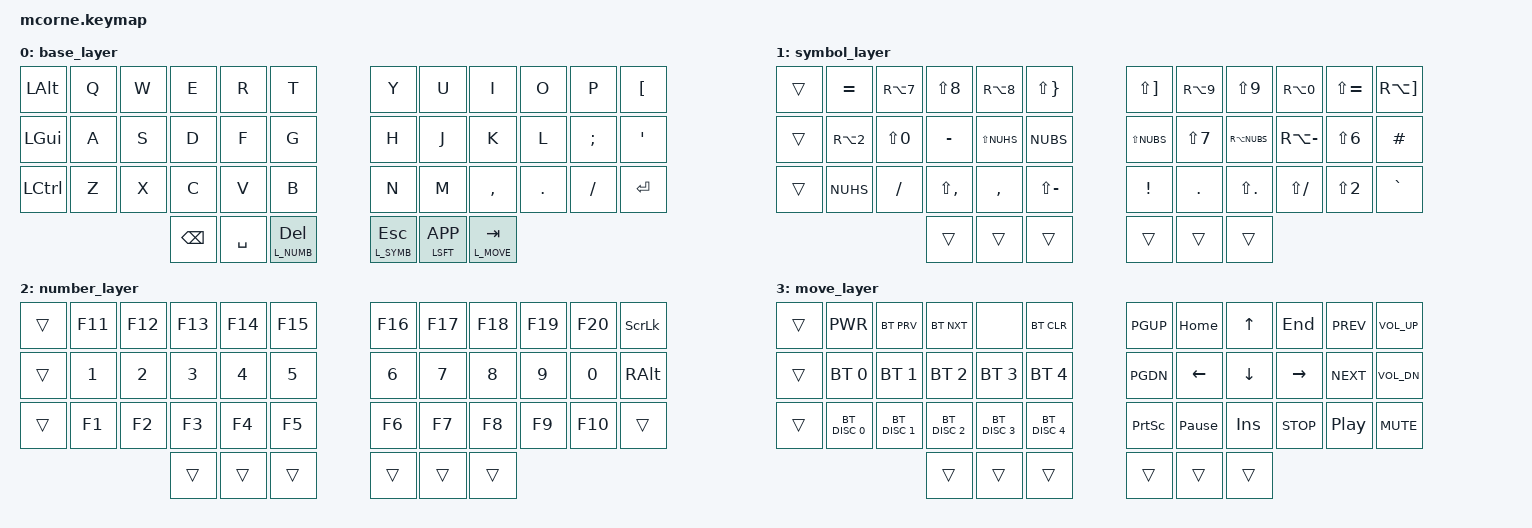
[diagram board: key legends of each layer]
/*
 * Copyright (c) 2020 The ZMK Contributors
 *
 * SPDX-License-Identifier: MIT
 */

#include <behaviors.dtsi>
#include <dt-bindings/zmk/keys.h>
#include <dt-bindings/zmk/bt.h>

#define L_BASE 0
#define L_SYMB 1
#define L_NUMB 2
#define L_MOVE 3

/ {
    macros {
    ZMK_MACRO(pr_stats,
        wait-ms = <30>;
        tap-ms = <40>;
        bindings = <&kp H &kp E &kp L &kp L &kp O>;)};
    behaviors {
        tu: hold_tap_repeat {
            compatible = "zmk,behavior-hold-tap";
            label = "HOLD_TAP_STANDARD";
            #binding-cells = <2>;
            tapping-term-ms = <280>;
            quick-tap-ms = <175>;
            global-quick-tap;
            flavor = "balanced";
            bindings = <&kp>, <&kp>;};
        ht: hold_tap_standard {
            compatible = "zmk,behavior-hold-tap";
            label = "HOLD_TAP_STANDARD";
            #binding-cells = <2>;
            tapping-term-ms = <200>;
            quick-tap-ms = <150>;
            flavor = "hold-preferred";
            bindings = <&kp>, <&kp>;};
        ly: custom_layer_tap {
            compatible = "zmk,behavior-hold-tap";
            label = "CUSTOM_LAYER_TAP";
            #binding-cells = <2>;
            tapping-term-ms = <250>;
            quick-tap-ms = <175>;
            flavor = "balanced";
            bindings = <&mo>, <&kp>;};
        td1: tap_dance1 {
            compatible = "zmk,behavior-tap-dance";
            label = "TAP_DANCE_1";
            #binding-cells = <0>;
            tapping-term-ms = <175>;
            bindings = <&sl 1>, <&tog 1>;};
        tdte: tap_dance2 {
            compatible = "zmk,behavior-tap-dance";
            label = "TAP_DANCE_2";
            #binding-cells = <0>;
            tapping-term-ms = <200>;
            bindings = <&kp TAB>, <&kp ESC>;};
        tdfn: tap_dance3 {
            compatible = "zmk,behavior-tap-dance";
            label = "TAP_DANCE_3";
            #binding-cells = <0>;
            tapping-term-ms = <200>;
            bindings = <&kp F10>, <&kp F11>, <&kp F12>;};};
keymap { compatible = "zmk,keymap";
base_layer { bindings = <
// L_BASE

&kp LALT   &kp Q    &kp W   &kp E     &kp R      &kp T               &kp Y   &kp U   &kp I           &kp O       &kp P     &kp LBKT
&kp LGUI   &kp A    &kp S   &kp D     &kp F      &kp G               &kp H   &kp J   &kp K           &kp L       &kp SEMI  &kp APOS
&kp LCTRL  &kp Z    &kp X   &kp C     &kp V      &kp B               &kp N   &kp M   &kp COMMA       &kp PERIOD  &kp FSLH  &kp RET
                            &kp BSPC  &kp SPACE  &ly L_NUMB DEL      &ly L_SYMB ESC  &mt LSFT K_APP  &ly L_MOVE TAB
>;};
symbol_layer { bindings = <
// L_SYMB

&trans  &kp EQUAL   &kp RA(N7)  &kp LS(N8)     &kp RA(N8)    &kp LS(RBRC)       &kp LS(RBKT)  &kp RA(N9)  &kp LS(N9)    &kp RA(N0)     &kp LS(EQUAL)  &kp RA(RBKT)
&trans  &kp RA(N2)  &kp LS(N0)  &kp MINUS      &kp LS(NUHS)  &kp NUBS           &kp LS(NUBS)  &kp LS(N7)  &kp RA(NUBS)  &kp RA(MINUS)  &kp LS(N6)     &kp POUND
&trans  &kp NUHS    &kp FSLH    &kp LS(COMMA)  &kp COMMA     &kp LS(MINUS)      &kp EXCL      &kp DOT     &kp LS(DOT)   &kp LS(FSLH)   &kp LS(N2)     &kp GRAVE
                                &trans         &trans        &trans             &trans        &trans      &trans
>;};
number_layer { bindings = <
// L_NUMB

&trans  &kp F11  &kp F12  &kp F13  &kp F14  &kp F15      &kp F16  &kp F17  &kp F18  &kp F19  &kp F20  &kp SLCK
&trans  &kp N1   &kp N2   &kp N3   &kp N4   &kp N5       &kp N6   &kp N7   &kp N8   &kp N9   &kp N0   &kp RALT
&trans  &kp F1   &kp F2   &kp F3   &kp F4   &kp F5       &kp F6   &kp F7   &kp F8   &kp F9   &kp F10  &trans
                          &trans   &trans   &trans       &trans   &trans   &trans
>;};
move_layer { bindings = <
// L_MOVE

&trans  &kp C_PWR      &bt BT_PRV     &bt BT_NXT     &none          &bt BT_CLR         &kp PGUP   &kp HOME         &kp UP      &kp END     &kp C_PREV  &kp C_VOL_UP
&trans  &bt BT_SEL 0   &bt BT_SEL 1   &bt BT_SEL 2   &bt BT_SEL 3   &bt BT_SEL 4       &kp PGDN   &kp LEFT         &kp DOWN    &kp RIGHT   &kp C_NEXT  &kp C_VOL_DN
&trans  &bt BT_DISC 0  &bt BT_DISC 1  &bt BT_DISC 2  &bt BT_DISC 3  &bt BT_DISC 4      &kp PSCRN  &kp PAUSE_BREAK  &kp INSERT  &kp C_STOP  &kp C_PP    &kp C_MUTE
                                      &trans         &trans         &trans             &trans     &trans    &trans
>;};};};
